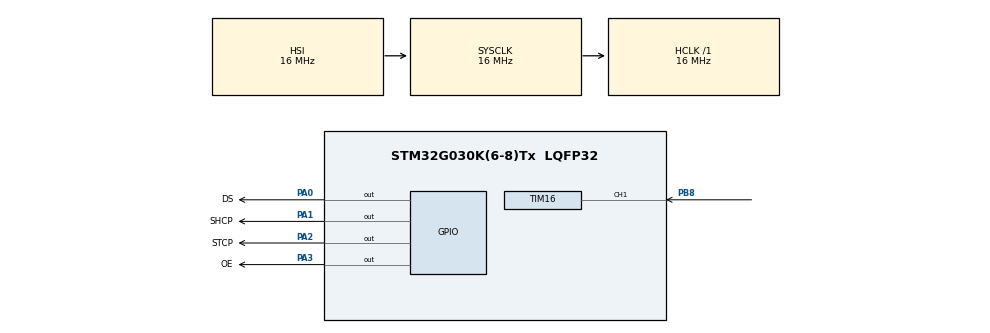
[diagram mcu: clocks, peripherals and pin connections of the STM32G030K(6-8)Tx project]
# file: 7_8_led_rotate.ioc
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Mcu.Family=STM32G0
Mcu.Name=STM32G030K(6-8)Tx
Mcu.Package=LQFP32
NVIC.TIM16_IRQn=true\:0\:0\:false\:false\:true\:true\:true\:true
PA0.GPIO_Label=DS
PA0.PinState=GPIO_PIN_RESET
PA0.Signal=GPIO_Output
PA1.GPIO_Label=SHCP
PA1.Signal=GPIO_Output
PA2.GPIO_Label=STCP
PA2.Signal=GPIO_Output
PA3.GPIO_Label=OE
PA3.Signal=GPIO_Output
PB8.GPIO_PuPd=GPIO_PULLUP
PB8.Signal=S_TIM16_CH1
ProjectManager.HeapSize=0x200
ProjectManager.StackSize=0x400
ProjectManager.TargetToolchain=STM32CubeIDE
RCC.AHBFreq_Value=16000000
RCC.CortexFreq_Value=16000000
RCC.EXTERNAL_CLOCK_VALUE=12288000
RCC.HCLKFreq_Value=16000000
RCC.HSE_VALUE=8000000
RCC.HSI_VALUE=16000000
RCC.LSE_VALUE=32768
RCC.SYSCLKFreq_VALUE=16000000
RCC.VCOOutputFreq_Value=128000000
SH.S_TIM16_CH1.0=TIM16_CH1,Input_Capture1_from_TI1
TIM16.Channel=TIM_CHANNEL_1
TIM16.ICPolarity_CH1=TIM_INPUTCHANNELPOLARITY_FALLING
TIM16.Prescaler=16-1
VP_TIM16_VS_ClockSourceINT.Mode=Enable_Timer
board=custom

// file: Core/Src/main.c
/* USER CODE BEGIN Header */
/**
  ******************************************************************************
  * @file           : main.c
  * @brief          : Main program body
  ******************************************************************************
  * @attention
  *
  * Copyright (c) 2024 STMicroelectronics.
  * All rights reserved.
  *
  * This software is licensed under terms that can be found in the LICENSE file
  * in the root directory of this software component.
  * If no LICENSE file comes with this software, it is provided AS-IS.
  *
  ******************************************************************************
  */
/* USER CODE END Header */
#include "main.h"

/* USER CODE BEGIN Includes */
#include "dotfont_lib.h"
/* USER CODE END Includes */

TIM_HandleTypeDef htim16;

void SystemClock_Config(void);
static void MX_GPIO_Init(void);
static void MX_TIM16_Init(void);

/* USER CODE BEGIN 0 */

void hc595_send(uint16_t data)
{
	for(int i = 0;i < 16;i++)
	{
		HAL_GPIO_WritePin(DS_GPIO_Port, DS_Pin, data & 1<<15 ? GPIO_PIN_SET : GPIO_PIN_RESET);
		HAL_GPIO_WritePin(SHCP_GPIO_Port,SHCP_Pin, GPIO_PIN_SET);
		HAL_GPIO_WritePin(SHCP_GPIO_Port,SHCP_Pin, GPIO_PIN_RESET);
		data<<=1;
	}
	HAL_GPIO_WritePin(STCP_GPIO_Port,STCP_Pin, GPIO_PIN_RESET);
	HAL_GPIO_WritePin(STCP_GPIO_Port,STCP_Pin, GPIO_PIN_SET);
}

void print_dotmat(uint16_t **dotmat,uint8_t nums,uint8_t size,int delay){
	for(int j = 0;j < nums;++j)
	  {
		  for(int i = 0;i < size;++i)
		  {
			  hc595_send(dotmat[j][i]);
			  HAL_Delay(delay);
		  }
	  }
	  hc595_send(0x0000);
}

void print_digit(uint16_t digit,int delay){
	for(int i=0;i<8;i++){
		hc595_send(NUMBER[digit][i]);
		HAL_Delay(delay);
	}
	hc595_send(0x0000);
}

void print_num(uint16_t num, int delay) {
    uint8_t digits[5]; // 最大值 65535，有 5 位
    uint8_t num_digits = 0;
    // 分解数字并存入数组
    do {
        digits[num_digits++] = num % 10;
        num /= 10;
    } while (num > 0);

    // 反向输出数组中的数字
    for (int i = 0; i < num_digits; i++) {
        print_digit(digits[num_digits-i-1], delay);
    }

    hc595_send(0x0000); // 清除显示
}

uint8_t h = 0, m = 0, s = 0;

void renew_clock(void){
    // 清除之前的时、分、秒指针位置
	// CLOCK[h]=CLOCK[m]=CLOCK[s]=0;
	// 如果后续加入箭头之类的，就不能用上面这个方法
	for (int i = 0; i < 60; i++) {
		CLOCK[i] = 0;
	}
	// 更新时间
	s++;
	if (s >= 60) {
		s = 0;
		m++;
		if (m >= 60) {
			m = 0;
			h++;
			if (h >= 24) {
				h = 0;
			}
		}
	}
	// 设置新的时、分、秒指针位置
	CLOCK[h] = hour_hand;
	CLOCK[m] = min_hand;
	CLOCK[s] = sec_hand;
}

void print_clock(int delay) {
    // 静态变量保存时钟的时、分、秒
    for(int i=0;i<60;i++){
    	hc595_send(CLOCK[i]);
    	HAL_Delay(delay);
    }
}

//给电机1v，转速大约30s有600r，也就是20r/s
//人眼视觉暂留时间0.2s，也就是说5r/s是底线
//现在CPU主频16MHz，如果定时器分频16，频率为1MHz
//运行周期1us，我们希望他能一秒运行20次
//经测试，转速为10-20r/s不等
uint32_t difference=50000;
volatile uint32_t time_interval=100;
//最好附上默认值以防止未定义行为
//这里假设默认就是10r/s，那么就是0.1s/r,也就是100ms
volatile uint32_t overflow_cnt = 0;
uint8_t captured_once = 0;
uint32_t ic_val1 = 0;
uint32_t ic_val2 = 0;
volatile uint32_t rotate_round = 0;
//该阈值用于等待旋转稳定
uint8_t rotate_begin = 0;
const uint8_t round_threshod=5;
uint8_t round_finish_flag = 0;
const uint8_t CLOCK_MODE_ON=1;
uint8_t renew_clock_flag=0;
uint8_t freq=1;//MHz
uint8_t overflow_1s=0;
volatile uint32_t elapsed_secs=0;//经过的秒数

// 初始化函数，overflow_1s用于计算 1 秒内的溢出次数，配置没变的话应该是15
void init_overflow_1s(void) {
    overflow_1s = (freq * 1000000) / (htim16.Init.Period + 1);
}

void HAL_TIM_PeriodElapsedCallback(TIM_HandleTypeDef *htim)
{
	static uint32_t real_overflow_cnt=0;
	// overflow_cnt会被重置，因此需要新建一个变量
    if (htim == &htim16)
    {
        overflow_cnt++; // 记录溢出次数
        real_overflow_cnt++;
    }
    if(CLOCK_MODE_ON==1 && rotate_begin==1){
    	if(real_overflow_cnt%overflow_1s==0){
			//renew_clock();
    		renew_clock_flag=1;
    		elapsed_secs++;
		}
    }
}

void HAL_TIM_IC_CaptureCallback(TIM_HandleTypeDef *htim)
{
    if (htim == &htim16)
    {
    	if(rotate_begin==0){
    		rotate_round++;
			if(rotate_round>round_threshod){
				rotate_begin=1;// 超过阈值，开始正常计数
				rotate_round=0;// 清零
			}
    	}else{
        	round_finish_flag=1;
        	rotate_round++;
            if (captured_once == 0)
            {
                ic_val1 = HAL_TIM_ReadCapturedValue(htim, TIM_CHANNEL_1);
                captured_once = 1;
                overflow_cnt = 0; // 重置溢出计数器
            }
            else
            {
                ic_val2 = HAL_TIM_ReadCapturedValue(htim, TIM_CHANNEL_1);
                difference = ic_val2 - ic_val1 + overflow_cnt * (htim16.Init.Period + 1);
                time_interval=difference/(freq * 1000);
                // 计算时间间隔（单位为微秒）,1MHz计数频率
                captured_once = 0; // 重置捕获状态
            }
    	}
    }
}

/* USER CODE END 0 */

int main(void)
{

  /* MCU Configuration--------------------------------------------------------*/

  /* Reset of all peripherals, Initializes the Flash interface and the Systick. */
  HAL_Init();

  /* Configure the system clock */
  SystemClock_Config();

  /* Initialize all configured peripherals */
  MX_GPIO_Init();
  MX_TIM16_Init();
  /* USER CODE BEGIN 2 */
  init_overflow_1s();
  // 启动输入捕获中断
  HAL_TIM_IC_Start_IT(&htim16, TIM_CHANNEL_1);
  // 启动更新中断
  __HAL_TIM_ENABLE_IT(&htim16, TIM_IT_UPDATE);
  // 仅用于测试
  hc595_send(0xff00);

  /* USER CODE END 2 */

  /* Infinite loop */
  while (1)
  {

    /* USER CODE BEGIN 3 */
	if(renew_clock_flag==1){
		renew_clock();
		renew_clock_flag=0;
	}
	if(round_finish_flag==1){
//		print_num(time_interval,time_interval/1000);
//		HAL_Delay(10);
//		print_num(elapsed_secs,time_interval/1000);
//		HAL_Delay(10);
//		print_num(rotate_round,time_interval/1000);
//		HAL_Delay(10);
		//renew_clock();
		print_clock(time_interval/60);
		round_finish_flag=0;
	}
  }
  /* USER CODE END 3 */
}

void SystemClock_Config(void)
{
  RCC_OscInitTypeDef RCC_OscInitStruct = {0};
  RCC_ClkInitTypeDef RCC_ClkInitStruct = {0};

  /** Configure the main internal regulator output voltage
  */
  HAL_PWREx_ControlVoltageScaling(PWR_REGULATOR_VOLTAGE_SCALE1);

  /** Initializes the RCC Oscillators according to the specified parameters
  * in the RCC_OscInitTypeDef structure.
  */
  RCC_OscInitStruct.OscillatorType = RCC_OSCILLATORTYPE_HSI;
  RCC_OscInitStruct.HSIState = RCC_HSI_ON;
  RCC_OscInitStruct.HSIDiv = RCC_HSI_DIV1;
  RCC_OscInitStruct.HSICalibrationValue = RCC_HSICALIBRATION_DEFAULT;
  RCC_OscInitStruct.PLL.PLLState = RCC_PLL_NONE;
  if (HAL_RCC_OscConfig(&RCC_OscInitStruct) != HAL_OK)
  {
    Error_Handler();
  }

  /** Initializes the CPU, AHB and APB buses clocks
  */
  RCC_ClkInitStruct.ClockType = RCC_CLOCKTYPE_HCLK|RCC_CLOCKTYPE_SYSCLK
                              |RCC_CLOCKTYPE_PCLK1;
  RCC_ClkInitStruct.SYSCLKSource = RCC_SYSCLKSOURCE_HSI;
  RCC_ClkInitStruct.AHBCLKDivider = RCC_SYSCLK_DIV1;
  RCC_ClkInitStruct.APB1CLKDivider = RCC_HCLK_DIV1;

  if (HAL_RCC_ClockConfig(&RCC_ClkInitStruct, FLASH_LATENCY_0) != HAL_OK)
  {
    Error_Handler();
  }
}

static void MX_TIM16_Init(void)
{

  TIM_IC_InitTypeDef sConfigIC = {0};

  htim16.Instance = TIM16;
  htim16.Init.Prescaler = 16-1;
  htim16.Init.CounterMode = TIM_COUNTERMODE_UP;
  htim16.Init.Period = 65535;
  htim16.Init.ClockDivision = TIM_CLOCKDIVISION_DIV1;
  htim16.Init.RepetitionCounter = 0;
  htim16.Init.AutoReloadPreload = TIM_AUTORELOAD_PRELOAD_DISABLE;
  if (HAL_TIM_Base_Init(&htim16) != HAL_OK)
  {
    Error_Handler();
  }
  if (HAL_TIM_IC_Init(&htim16) != HAL_OK)
  {
    Error_Handler();
  }
  sConfigIC.ICPolarity = TIM_INPUTCHANNELPOLARITY_FALLING;
  sConfigIC.ICSelection = TIM_ICSELECTION_DIRECTTI;
  sConfigIC.ICPrescaler = TIM_ICPSC_DIV1;
  sConfigIC.ICFilter = 0;
  if (HAL_TIM_IC_ConfigChannel(&htim16, &sConfigIC, TIM_CHANNEL_1) != HAL_OK)
  {
    Error_Handler();
  }

}

static void MX_GPIO_Init(void)
{
  GPIO_InitTypeDef GPIO_InitStruct = {0};

  /* GPIO Ports Clock Enable */
  __HAL_RCC_GPIOA_CLK_ENABLE();
  __HAL_RCC_GPIOB_CLK_ENABLE();

  /*Configure GPIO pin Output Level */
  HAL_GPIO_WritePin(GPIOA, DS_Pin|SHCP_Pin|STCP_Pin|OE_Pin, GPIO_PIN_RESET);

  /*Configure GPIO pins : DS_Pin SHCP_Pin STCP_Pin OE_Pin */
  GPIO_InitStruct.Pin = DS_Pin|SHCP_Pin|STCP_Pin|OE_Pin;
  GPIO_InitStruct.Mode = GPIO_MODE_OUTPUT_PP;
  GPIO_InitStruct.Pull = GPIO_NOPULL;
  GPIO_InitStruct.Speed = GPIO_SPEED_FREQ_LOW;
  HAL_GPIO_Init(GPIOA, &GPIO_InitStruct);

}

void Error_Handler(void)
{
  __disable_irq();
  while (1)
  {
  }
}
